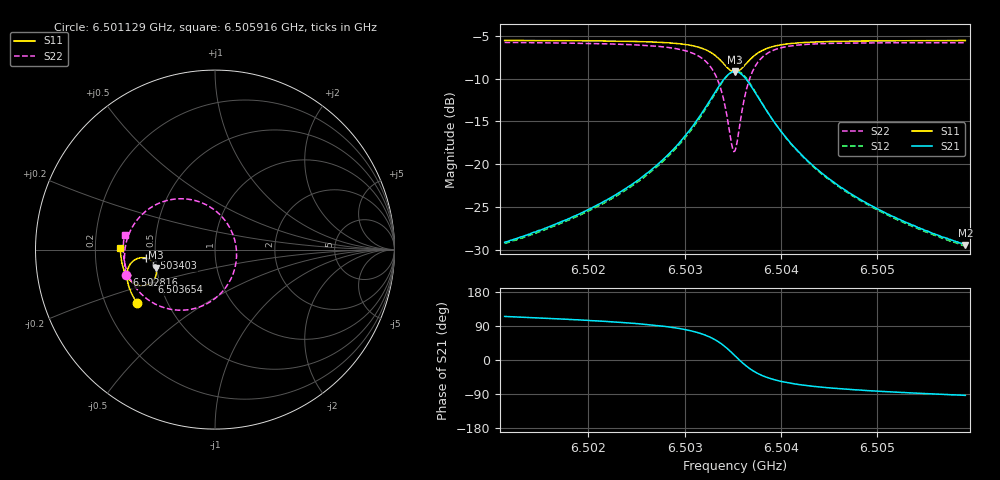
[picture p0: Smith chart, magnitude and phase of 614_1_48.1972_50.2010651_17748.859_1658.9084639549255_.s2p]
#  HZ  S  RI  R  50.00
! Rohde & Schwarz Vector Network Analyzer
! Rohde-Schwarz,ZNB20-2Port,1311601062101988,3.16
! Created: UTC 3/20/2024, 12:03:37 PM
! freq[Hz]  re:S11  im:S11  re:S21  im:S21  re:S12  im:S12  re:S22  im:S22
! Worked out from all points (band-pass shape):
!   401 points, 6.501129 GHz to 6.505916 GHz, reference 50 ohm
!   highest |S21| = -9.18 dB at 6.503523 GHz (marker M1); lowest = -29.4 dB at 6.505916 GHz (marker M2)
!   |S21| within 3 dB of the highest: 6.503283 GHz to 6.503763 GHz (479.1 kHz wide, 0.00737 % of centre)
!   lowest |S11| = -9.3 dB at 6.503523 GHz (marker M3), VSWR 2.05, Z = 24.8 - j5.65 ohm
!   |S11| at or under -10 dB: nowhere
!   |S22| runs from -18.5 to -5.8 dB; largest |S21 - S12| = 0.012
!   S11 on the Smith chart (normalised r, x): 6.501129 GHz: 0.34, -0.28; 6.502816 GHz: 0.33, -0.13; 6.503403 GHz: 0.44, -0.05; 6.503654 GHz: 0.45, -0.19; 6.505916 GHz: 0.31, +0.01
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6.501129e9  -0.4347 -0.298  -0.0148 0.0319  -0.013 0.0321  -0.4941 -0.1395
6.5019308e9  -0.468 -0.2372  -0.0138 0.0505  -0.0113 0.0499  -0.5044 -0.0513
6.5023617e9  -0.4824 -0.1979  -0.0108 0.0701  -0.00759 0.069  -0.4999 0.0123
6.5027327e9  -0.4903 -0.1554  -0.000736 0.1015  0.00295 0.099  -0.4779 0.0904
6.5028164e9  -0.4908 -0.1436  0.0041 0.1123  0.0079 0.1093  -0.4672 0.1136
6.5030199e9  -0.486 -0.1096  0.0274 0.1476  0.0311 0.143  -0.4188 0.1827
6.5031635e9  -0.4713 -0.0795  0.0658 0.1817  0.0687 0.176  -0.3443 0.2423
6.5033071e9  -0.4322 -0.0498  0.1496 0.2108  0.1504 0.2047  -0.1917 0.2834
6.503355e9  -0.4103 -0.045  0.1932 0.2093  0.1934 0.2039  -0.1153 0.2743
6.5034028e9  -0.3843 -0.0474  0.2434 0.1935  0.2436 0.1891  -0.0296 0.2389
6.5034866e9  -0.3404 -0.0777  0.3233 0.1169  0.3261 0.1128  0.0982 0.0879
6.5035225e9  -0.3292 -0.1004  0.3412 0.067  0.3454 0.0615  0.1197 -0.00616
6.5035465e9  -0.3262 -0.1173  0.3446 0.0313  0.3493 0.0246  0.1172 -0.0714
6.5035824e9  -0.3284 -0.1421  0.3371 -0.0202  0.3412 -0.0292  0.089 -0.1628
6.5036542e9  -0.3513 -0.1803  0.289 -0.0983  0.2894 -0.1103  -0.0244 -0.2894
6.5037499e9  -0.3932 -0.2007  0.2086 -0.1427  0.2038 -0.1534  -0.188 -0.3376
6.5039055e9  -0.4436 -0.1933  0.1183 -0.1417  0.111 -0.1477  -0.3525 -0.2926
6.504073e9  -0.4733 -0.1721  0.069 -0.1203  0.0624 -0.123  -0.4324 -0.2239
6.5043243e9  -0.496 -0.1406  0.0354 -0.0927  0.0305 -0.0934  -0.4812 -0.1448
6.5046714e9  -0.5114 -0.1032  0.0161 -0.0688  0.0125 -0.0685  -0.504 -0.0705
6.5051262e9  -0.5214 -0.0602  0.00542 -0.0506  0.00297 -0.0499  -0.511 -0.00256
6.505916e9  -0.5267 0.00751  -0.00197 -0.0339  -0.00337 -0.0332  -0.5042 0.0838
